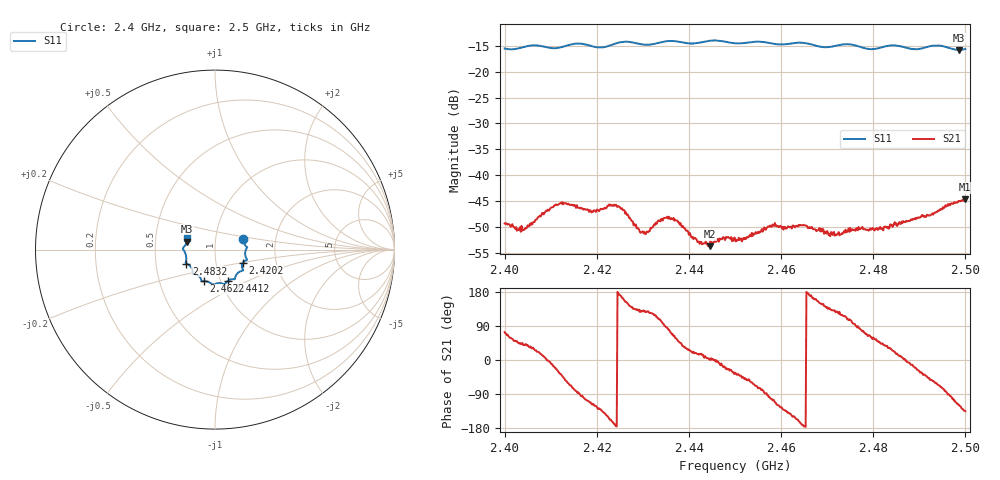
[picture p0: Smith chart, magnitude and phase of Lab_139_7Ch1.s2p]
# Hz S RI R 50
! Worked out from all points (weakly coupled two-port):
!   601 points, 2.4 GHz to 2.5 GHz, reference 50 ohm
!   highest |S21| = -44.67 dB at 2.4998 GHz (marker M1); lowest = -53.7 dB at 2.4445 GHz (marker M2)
!   lowest |S11| = -15.8 dB at 2.4987 GHz (marker M3), VSWR 1.39, Z = 36.4 + j3.35 ohm
!   |S11| at or under -10 dB: start of sweep to end of sweep
!   S12 and S22 are empty: the file has one direction only
!   S11 on the Smith chart (normalised r, x): 2.4 GHz: 1.36, +0.17; 2.4202 GHz: 1.35, -0.20; 2.4412 GHz: 1.09, -0.39; 2.4622 GHz: 0.83, -0.30; 2.4832 GHz: 0.72, -0.12; 2.5 GHz: 0.73, +0.09
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2.4e9  0.1566 0.0595  0.000977 0.00327  0 0  0 0
2.404333e9  0.1734 0.0184  0.00234 0.00189  0 0  0 0
2.411667e9  0.168 -0.0271  0.00447 -0.00264  0 0  0 0
2.416667e9  0.1772 -0.0583  -0.000498 -0.0048  0 0  0 0
2.420167e9  0.1558 -0.0725  -0.00287 -0.00365  0 0  0 0
2.4245e9  0.1544 -0.1102  -0.00494 2.98e-05  0 0  0 0
2.430167e9  0.1324 -0.1263  -0.00179 0.00207  0 0  0 0
2.433333e9  0.113 -0.1523  -0.0012 0.00345  0 0  0 0
2.437e9  0.108 -0.165  0.00195 0.00318  0 0  0 0
2.441167e9  0.075 -0.1722  0.00236 0.000754  0 0  0 0
2.4445e9  0.0554 -0.1913  0.00206 3.81e-05  0 0  0 0
2.447167e9  0.0474 -0.1918  0.00234 -0.00054  0 0  0 0
2.45e9  0.0259 -0.1866  0.00205 -0.00135  0 0  0 0
2.458167e9  -0.027 -0.1852  -0.000947 -0.0032  0 0  0 0
2.462167e9  -0.0631 -0.1768  -0.00255 -0.00184  0 0  0 0
2.466667e9  -0.0768 -0.1664  -0.00308 0.00071  0 0  0 0
2.472167e9  -0.1162 -0.1365  -0.00166 0.00213  0 0  0 0
2.483167e9  -0.1596 -0.0782  0.00269 0.00168  0 0  0 0
2.483333e9  -0.1605 -0.0778  0.00259 0.00159  0 0  0 0
2.498667e9  -0.1559 0.0448  -0.00284 -0.00486  0 0  0 0
2.499833e9  -0.1536 0.0609  -0.00405 -0.00421  0 0  0 0
2.5e9  -0.1535 0.063  -0.00412 -0.00411  0 0  0 0
